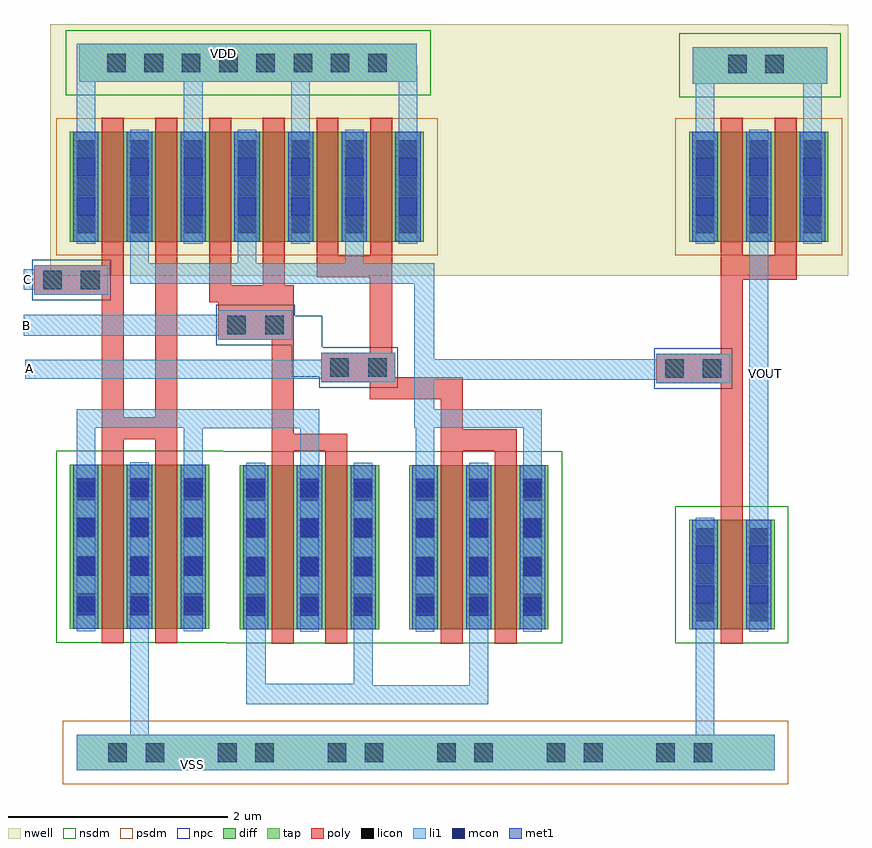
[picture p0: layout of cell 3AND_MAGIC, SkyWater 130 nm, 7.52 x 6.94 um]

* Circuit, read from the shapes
.subckt 3AND_MAGIC A B C VDD VOUT VSS
XM1 VSS C n1 VSS sky130_fd_pr__nfet_01v8 w=1.5 l=0.2 m=2
XM2 n1 B n2 VSS sky130_fd_pr__nfet_01v8 w=1.5 l=0.2 m=2
XM3 n2 A n3 VSS sky130_fd_pr__nfet_01v8 w=1.5 l=0.2 m=2
XM4 VOUT n3 VSS VSS sky130_fd_pr__nfet_01v8 w=1 l=0.2
XM5 n3 C VDD VDD sky130_fd_pr__pfet_01v8 w=1 l=0.2 m=2
XM6 n3 B VDD VDD sky130_fd_pr__pfet_01v8 w=1 l=0.2 m=2
XM7 n3 A VDD VDD sky130_fd_pr__pfet_01v8 w=1 l=0.2 m=2
XM8 VOUT n3 VDD VDD sky130_fd_pr__pfet_01v8 w=1 l=0.2 m=2
.ends

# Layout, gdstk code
import gdstk
lib = gdstk.Library(unit=1e-6, precision=1e-09)
def R(c, l, rs):  # rectangles x0, y0, x1, y1
    for r in rs: c.add(gdstk.rectangle(r[:2], r[2:], *l))
def A(c, l, x, y, w, h, nx, ny, dx, dy):  # array of equal rectangles
    R(c, l, [(x+i*dx, y+j*dy, x+i*dx+w, y+j*dy+h) for i in range(nx) for j in range(ny)])
nwell = (64, 20)
diff = (65, 20)
tap = (65, 44)
poly = (66, 20)
licon = (66, 44)
li1 = (67, 20)
mcon = (67, 44)
met1 = (68, 20)
nsdm = (93, 44)
psdm = (94, 20)
npc = (95, 20)

sky130_fd_pr__nfet_01v8_ = lib.new_cell('sky130_fd_pr__nfet_01v8_FQGQPX')
R(sky130_fd_pr__nfet_01v8_, diff, [(-0.39,-0.75,0.39,0.75)])
R(sky130_fd_pr__nfet_01v8_, poly, [(-0.1,-0.88,0.1,0.88)])
A(sky130_fd_pr__nfet_01v8_, licon, -0.33, -0.595, 0.17, 0.17, 1, 4, 0, 0.34)
A(sky130_fd_pr__nfet_01v8_, licon, 0.16, -0.595, 0.17, 0.17, 1, 4, 0, 0.34)
R(sky130_fd_pr__nfet_01v8_, li1, [(-0.33,-0.77,-0.16,0.77), (0.16,-0.77,0.33,0.77)])
A(sky130_fd_pr__nfet_01v8_, mcon, -0.33, -0.625, 0.17, 0.17, 1, 4, 0, 0.36)
A(sky130_fd_pr__nfet_01v8_, mcon, 0.16, -0.625, 0.17, 0.17, 1, 4, 0, 0.36)
R(sky130_fd_pr__nfet_01v8_, met1, [(-0.36,-0.75,-0.13,0.75), (0.13,-0.75,0.36,0.75)])
R(sky130_fd_pr__nfet_01v8_, nsdm, [(-0.515,-0.875,0.515,0.875)])

c_sky130_fd_pr__nfet_01v8_ = lib.new_cell('sky130_fd_pr__nfet_01v8_NUEGCF')
R(c_sky130_fd_pr__nfet_01v8_, diff, [(-0.39,-0.5,0.39,0.5)])
R(c_sky130_fd_pr__nfet_01v8_, poly, [(-0.1,-0.63,0.1,0.63)])
A(c_sky130_fd_pr__nfet_01v8_, licon, -0.33, -0.425, 0.17, 0.17, 1, 3, 0, 0.34)
A(c_sky130_fd_pr__nfet_01v8_, licon, 0.16, -0.425, 0.17, 0.17, 1, 3, 0, 0.34)
R(c_sky130_fd_pr__nfet_01v8_, li1, [(-0.33,-0.52,-0.16,0.52), (0.16,-0.52,0.33,0.52)])
R(c_sky130_fd_pr__nfet_01v8_, mcon, [(-0.33,-0.265,-0.16,-0.095), (0.16,-0.265,0.33,-0.095), (-0.33,0.095,-0.16,0.265), (0.16,0.095,0.33,0.265)])
R(c_sky130_fd_pr__nfet_01v8_, met1, [(-0.36,-0.5,-0.13,0.5), (0.13,-0.5,0.36,0.5)])
R(c_sky130_fd_pr__nfet_01v8_, nsdm, [(-0.515,-0.625,0.515,0.625)])

sky130_fd_pr__pfet_01v8_ = lib.new_cell('sky130_fd_pr__pfet_01v8_ES6JQB')
R(sky130_fd_pr__pfet_01v8_, nwell, [(-0.57,-0.81,0.57,0.81)])
R(sky130_fd_pr__pfet_01v8_, diff, [(-0.39,-0.5,0.39,0.5)])
R(sky130_fd_pr__pfet_01v8_, poly, [(-0.1,-0.63,0.1,0.63)])
A(sky130_fd_pr__pfet_01v8_, licon, -0.33, -0.425, 0.17, 0.17, 1, 3, 0, 0.34)
A(sky130_fd_pr__pfet_01v8_, licon, 0.16, -0.425, 0.17, 0.17, 1, 3, 0, 0.34)
R(sky130_fd_pr__pfet_01v8_, li1, [(-0.33,-0.52,-0.16,0.52), (0.16,-0.52,0.33,0.52)])
R(sky130_fd_pr__pfet_01v8_, mcon, [(-0.33,-0.265,-0.16,-0.095), (0.16,-0.265,0.33,-0.095), (-0.33,0.095,-0.16,0.265), (0.16,0.095,0.33,0.265)])
R(sky130_fd_pr__pfet_01v8_, met1, [(-0.36,-0.5,-0.13,0.5), (0.13,-0.5,0.36,0.5)])
R(sky130_fd_pr__pfet_01v8_, psdm, [(-0.515,-0.625,0.515,0.625)])

c_3and_magic = lib.new_cell('3AND_MAGIC')
R(c_3and_magic, nwell, [(1.295,0,7.125,1.51), (0,1.51,7.125,1.62), (0,1.62,7.28,2.29), (0,2.29,7.125,2.295)])
R(c_3and_magic, tap, [(0.24,-4.515,6.61,-4.19), (5.865,1.75,7.09,2.085), (0.265,1.77,3.345,2.115)])
R(c_3and_magic, poly, [(6.12,-2.135,6.32,-0.985), (2.02,-1.645,2.22,-1.6), (3.565,-1.62,3.765,-1.6), (0.47,-1.605,0.67,-1.495), (0.96,-1.605,1.16,-1.495), (2.02,-1.6,2.71,-1.445), (3.565,-1.6,4.255,-1.405), (0.47,-1.495,1.16,-1.295), (2.02,-1.445,2.22,-0.585), (3.565,-1.405,3.765,-1.13), (0.47,-1.295,0.67,-0.175), (0.96,-1.295,1.16,0.205), (2.915,-1.13,3.765,-0.975), (5.53,-0.985,6.32,-0.715), (2.475,-0.975,3.765,-0.93), (2.475,-0.93,3.15,-0.705), (6.12,-0.715,6.32,-0.04), (2.915,-0.705,3.12,-0.015), (1.535,-0.585,2.22,-0.245), (1.45,-0.245,2.22,-0.09), (-0.145,-0.175,0.67,0.095), (1.45,-0.09,1.65,0.18), (1.94,-0.09,2.14,0.18), (6.12,-0.04,6.81,0.185), (2.43,-0.015,3.12,0.18), (0.47,0.095,0.67,0.205)])
A(c_3and_magic, licon, 0.52, 1.855, 0.17, 0.17, 8, 1, 0.34, 0)
R(c_3and_magic, licon, [(0.53,-4.44,0.7,-4.27), (0.87,-4.44,1.04,-4.27), (1.53,-4.44,1.7,-4.27), (1.87,-4.44,2.04,-4.27), (2.53,-4.44,2.7,-4.27), (2.87,-4.44,3.04,-4.27), (3.53,-4.44,3.7,-4.27), (3.87,-4.44,4.04,-4.27), (4.53,-4.44,4.7,-4.27), (4.87,-4.44,5.04,-4.27), (5.53,-4.44,5.7,-4.27), (5.87,-4.44,6.04,-4.27), (5.61,-0.935,5.78,-0.765), (5.955,-0.935,6.125,-0.765), (2.555,-0.925,2.725,-0.755), (2.9,-0.925,3.07,-0.755), (1.615,-0.535,1.785,-0.365), (1.96,-0.535,2.13,-0.365), (-0.065,-0.125,0.105,0.045), (0.28,-0.125,0.45,0.045), (6.185,1.845,6.355,2.015), (6.525,1.845,6.695,2.015)])
A(c_3and_magic, li1, 0.24, 1.33, 0.17, 0.44, 4, 1, 0.98, 0)
R(c_3and_magic, li1, [(0.24,-4.515,6.61,-4.19), (0.73,-4.19,0.9,-3.235), (5.89,-4.19,6.06,-3.185), (1.79,-3.91,3.995,-3.74), (1.79,-3.74,2.945,-3.725), (3.825,-3.74,3.995,-3.23), (1.79,-3.725,1.965,-3.205), (2.77,-3.725,2.945,-3.195), (6.38,-2.29,6.55,0.31), (2.28,-1.71,2.455,-1.395), (3.335,-1.71,3.505,-1.39), (4.315,-1.71,4.485,-1.39), (0.24,-1.705,0.41,-1.39), (1.22,-1.705,1.39,-1.395), (1.22,-1.395,2.455,-1.39), (0.24,-1.39,2.455,-1.22), (3.32,-1.39,4.485,-1.22), (3.32,-1.22,3.505,-0.95), (5.53,-0.985,6.205,-0.95), (2.475,-0.975,3.15,-0.94), (3.32,-0.95,6.205,-0.765), (-0.23,-0.94,3.15,-0.77), (2.475,-0.77,3.15,-0.705), (3.32,-0.765,3.505,-0.075), (5.53,-0.765,6.205,-0.715), (1.535,-0.585,2.21,-0.55), (-0.24,-0.55,2.21,-0.36), (1.535,-0.36,2.21,-0.315), (-0.145,-0.175,0.53,-0.13), (-0.24,-0.13,0.53,0.055), (0.73,-0.075,3.505,0.11), (-0.145,0.055,0.53,0.095), (0.73,0.11,0.9,0.29), (1.71,0.11,1.88,0.3), (2.69,0.11,2.86,0.29), (5.89,1.33,6.06,1.75), (6.87,1.33,7.04,1.75), (5.865,1.75,7.09,2.085), (0.24,1.77,3.35,1.915), (0.24,1.915,3.345,2.115)])
R(c_3and_magic, nsdm, [(3.125,-3.355,3.15,-1.605), (1.575,-3.35,1.605,-1.605), (5.74,1.625,7.215,2.21), (0.14,1.645,3.47,2.24)])
R(c_3and_magic, psdm, [(0.115,-4.64,6.735,-4.065)])
R(c_3and_magic, npc, [(5.51,-1.035,6.225,-0.665), (2.455,-1.025,3.17,-0.925), (2.205,-0.925,3.17,-0.655), (2.205,-0.655,2.48,-0.635), (1.515,-0.635,2.48,-0.365), (1.515,-0.365,2.23,-0.265), (-0.165,-0.225,0.55,0.145)])
c_3and_magic.add(gdstk.Reference(sky130_fd_pr__nfet_01v8_, (1.06,-2.475)))
c_3and_magic.add(gdstk.Reference(sky130_fd_pr__nfet_01v8_, (0.57,-2.475)))
c_3and_magic.add(gdstk.Reference(sky130_fd_pr__nfet_01v8_, (2.12,-2.48)))
c_3and_magic.add(gdstk.Reference(sky130_fd_pr__nfet_01v8_, (2.61,-2.48)))
c_3and_magic.add(gdstk.Reference(sky130_fd_pr__nfet_01v8_, (3.665,-2.48)))
c_3and_magic.add(gdstk.Reference(sky130_fd_pr__nfet_01v8_, (4.155,-2.48)))
c_3and_magic.add(gdstk.Reference(c_sky130_fd_pr__nfet_01v8_, (6.22,-2.73)))
c_3and_magic.add(gdstk.Reference(sky130_fd_pr__pfet_01v8_, (0.57,0.81)))
c_3and_magic.add(gdstk.Reference(sky130_fd_pr__pfet_01v8_, (1.06,0.81)))
c_3and_magic.add(gdstk.Reference(sky130_fd_pr__pfet_01v8_, (1.55,0.81)))
c_3and_magic.add(gdstk.Reference(sky130_fd_pr__pfet_01v8_, (2.53,0.81)))
c_3and_magic.add(gdstk.Reference(sky130_fd_pr__pfet_01v8_, (3.02,0.81)))
c_3and_magic.add(gdstk.Reference(sky130_fd_pr__pfet_01v8_, (2.04,0.81)))
c_3and_magic.add(gdstk.Reference(sky130_fd_pr__pfet_01v8_, (6.22,0.81)))
c_3and_magic.add(gdstk.Reference(sky130_fd_pr__pfet_01v8_, (6.71,0.81)))
c_3and_magic.add(gdstk.Label('VDD', (1.585,2.03), layer=67, texttype=5))
c_3and_magic.add(gdstk.Label('VSS', (1.295,-4.465), layer=67, texttype=5))
c_3and_magic.add(gdstk.Label('C', (-0.21,-0.035), layer=67, texttype=5))
c_3and_magic.add(gdstk.Label('B', (-0.22,-0.455), layer=67, texttype=5))
c_3and_magic.add(gdstk.Label('A', (-0.19,-0.85), layer=67, texttype=5))
c_3and_magic.add(gdstk.Label('VOUT', (6.525,-0.89), layer=67, texttype=5))

lib.write_gds('3AND_MAGIC.gds')
